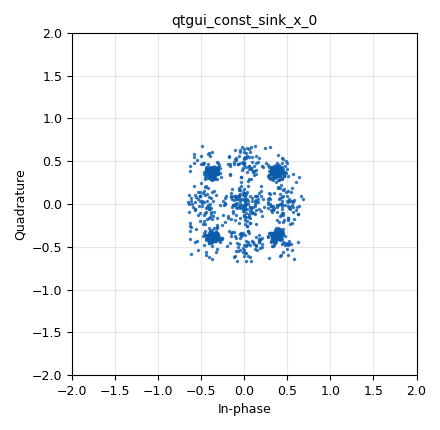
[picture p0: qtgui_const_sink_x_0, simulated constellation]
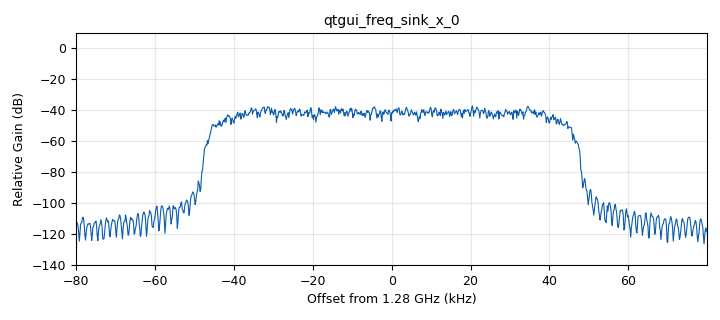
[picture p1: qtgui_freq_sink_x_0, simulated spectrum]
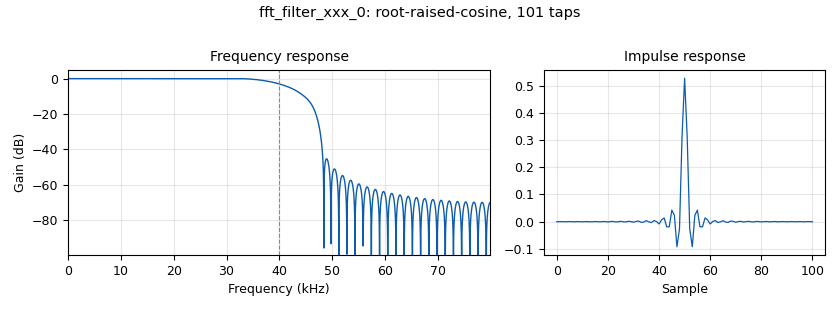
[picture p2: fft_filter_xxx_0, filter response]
<?xml version='1.0' encoding='utf-8'?>
<?grc format='1' created='3.7.12'?>
<flow_graph>
<block>
<key>options</key>
<param><key>id</key><value>dvbs2_tx</value></param>
<param><key>category</key><value>Custom</value></param>
<param><key>generate_options</key><value>qt_gui</value></param>
</block>
<block>
<key>variable</key>
<param><key>id</key><value>center_freq</value></param>
<param><key>value</key><value>1280e6</value></param>
</block>
<block>
<key>variable</key>
<param><key>id</key><value>rolloff</value></param>
<param><key>value</key><value>0.2</value></param>
</block>
<block>
<key>variable</key>
<param><key>id</key><value>samp_rate</value></param>
<param><key>value</key><value>symbol_rate * 2</value></param>
</block>
<block>
<key>variable</key>
<param><key>id</key><value>symbol_rate</value></param>
<param><key>value</key><value>80000</value></param>
</block>
<block>
<key>variable</key>
<param><key>id</key><value>taps</value></param>
<param><key>value</key><value>100</value></param>
</block>
<block>
<key>variable_qtgui_range</key>
<param><key>id</key><value>tx_gain</value></param>
<param><key>value</key><value>50</value></param>
<param><key>orient</key><value>Qt.Horizontal</value></param>
<param><key>start</key><value>0</value></param>
<param><key>step</key><value>1</value></param>
<param><key>stop</key><value>89</value></param>
</block>
<block>
<key>variable_qtgui_range</key>
<param><key>id</key><value>vga1_gain</value></param>
<param><key>value</key><value>-8</value></param>
<param><key>orient</key><value>Qt.Horizontal</value></param>
<param><key>start</key><value>-35</value></param>
<param><key>step</key><value>1</value></param>
<param><key>stop</key><value>-4</value></param>
<param><key>rangeType</key><value>int</value></param>
</block>
<block>
<key>variable_qtgui_range</key>
<param><key>id</key><value>vga2_gain</value></param>
<param><key>value</key><value>10</value></param>
<param><key>orient</key><value>Qt.Horizontal</value></param>
<param><key>start</key><value>0</value></param>
<param><key>step</key><value>1</value></param>
<param><key>stop</key><value>25</value></param>
<param><key>rangeType</key><value>int</value></param>
</block>
<block>
<key>analog_random_source_x</key>
<param><key>id</key><value>analog_random_source_x_0</value></param>
<param><key>max</key><value>2</value></param>
<param><key>min</key><value>0</value></param>
<param><key>num_samps</key><value>1000</value></param>
<param><key>type</key><value>byte</value></param>
<param><key>repeat</key><value>True</value></param>
</block>
<block>
<key>blocks_file_sink</key>
<param><key>id</key><value>blocks_file_sink_0</value></param>
<param><key>_enabled</key><value>False</value></param>
<param><key>file</key><value>adv.cfile</value></param>
<param><key>type</key><value>complex</value></param>
</block>
<block>
<key>blocks_file_source</key>
<param><key>id</key><value>blocks_file_source_0</value></param>
<param><key>_enabled</key><value>0</value></param>
<param><key>file</key><value>/run/shm/adv16apsk910.ts</value></param>
<param><key>type</key><value>byte</value></param>
<param><key>repeat</key><value>True</value></param>
</block>
<block>
<key>dtv_dvb_bbheader_bb</key>
<param><key>id</key><value>dtv_dvb_bbheader_bb_0</value></param>
<param><key>rate5</key><value>C1_4</value></param>
<param><key>framesize2</key><value>FECFRAME_SHORT</value></param>
<param><key>rolloff</key><value>RO_0_20</value></param>
<param><key>standard</key><value>STANDARD_DVBS2</value></param>
</block>
<block>
<key>dtv_dvb_bbscrambler_bb</key>
<param><key>id</key><value>dtv_dvb_bbscrambler_bb_0</value></param>
<param><key>rate5</key><value>C1_4</value></param>
<param><key>framesize2</key><value>FECFRAME_SHORT</value></param>
<param><key>standard</key><value>STANDARD_DVBS2</value></param>
</block>
<block>
<key>dtv_dvb_bch_bb</key>
<param><key>id</key><value>dtv_dvb_bch_bb_0</value></param>
<param><key>rate5</key><value>C1_4</value></param>
<param><key>framesize2</key><value>FECFRAME_SHORT</value></param>
<param><key>standard</key><value>STANDARD_DVBS2</value></param>
</block>
<block>
<key>dtv_dvb_ldpc_bb</key>
<param><key>id</key><value>dtv_dvb_ldpc_bb_0</value></param>
<param><key>rate5</key><value>C1_4</value></param>
<param><key>constellation</key><value>MOD_OTHER</value></param>
<param><key>framesize2</key><value>FECFRAME_SHORT</value></param>
<param><key>standard</key><value>STANDARD_DVBS2</value></param>
</block>
<block>
<key>dtv_dvbs2_interleaver_bb</key>
<param><key>id</key><value>dtv_dvbs2_interleaver_bb_0</value></param>
<param><key>rate1</key><value>C1_4</value></param>
<param><key>constellation</key><value>MOD_QPSK</value></param>
<param><key>framesize</key><value>FECFRAME_NORMAL</value></param>
</block>
<block>
<key>dtv_dvbs2_modulator_bc</key>
<param><key>id</key><value>dtv_dvbs2_modulator_bc_0</value></param>
<param><key>interpolation</key><value>INTERPOLATION_OFF</value></param>
<param><key>rate3</key><value>C1_4</value></param>
<param><key>constellation</key><value>MOD_QPSK</value></param>
<param><key>framesize</key><value>FECFRAME_SHORT</value></param>
</block>
<block>
<key>dtv_dvbs2_physical_cc</key>
<param><key>id</key><value>dtv_dvbs2_physical_cc_0</value></param>
<param><key>rate1</key><value>C1_4</value></param>
<param><key>constellation</key><value>MOD_QPSK</value></param>
<param><key>framesize</key><value>FECFRAME_NORMAL</value></param>
<param><key>goldcode</key><value>0</value></param>
<param><key>pilots</key><value>PILOTS_ON</value></param>
</block>
<block>
<key>fft_filter_xxx</key>
<param><key>id</key><value>fft_filter_xxx_0</value></param>
<param><key>decim</key><value>1</value></param>
<param><key>taps</key><value>firdes.root_raised_cosine(1.0, samp_rate, samp_rate/2, rolloff, taps)</value></param>
<param><key>type</key><value>ccc</value></param>
</block>
<block>
<key>osmosdr_sink</key>
<param><key>id</key><value>osmosdr_sink_0</value></param>
<param><key>bb_gain0</key><value>vga1_gain</value></param>
<param><key>bw0</key><value>6000000</value></param>
<param><key>freq0</key><value>center_freq</value></param>
<param><key>if_gain0</key><value>0</value></param>
<param><key>gain0</key><value>vga2_gain</value></param>
<param><key>args</key><value>bladerf=0,buffers=128,buflen=32768</value></param>
<param><key>_enabled</key><value>0</value></param>
<param><key>type</key><value>fc32</value></param>
<param><key>sample_rate</key><value>samp_rate</value></param>
<param><key>sync</key><value></value></param>
</block>
<block>
<key>qtgui_const_sink_x</key>
<param><key>id</key><value>qtgui_const_sink_x_0</value></param>
<param><key>grid</key><value>True</value></param>
<param><key>size</key><value>1024</value></param>
<param><key>type</key><value>complex</value></param>
</block>
<block>
<key>qtgui_freq_sink_x</key>
<param><key>id</key><value>qtgui_freq_sink_x_0</value></param>
<param><key>average</key><value>0.2</value></param>
<param><key>bw</key><value>samp_rate</value></param>
<param><key>fc</key><value>center_freq</value></param>
<param><key>fftsize</key><value>1024</value></param>
<param><key>grid</key><value>True</value></param>
<param><key>showports</key><value>True</value></param>
<param><key>type</key><value>complex</value></param>
<param><key>wintype</key><value>firdes.WIN_BLACKMAN_hARRIS</value></param>
</block>
<block>
<key>uhd_usrp_sink</key>
<param><key>id</key><value>uhd_usrp_sink_0_0</value></param>
<param><key>ant0</key><value></value></param>
<param><key>center_freq0</key><value>uhd.tune_request(center_freq, ((symbol_rate * (1 + rolloff)) / 2 ) + 1e5)</value></param>
<param><key>norm_gain0</key><value>False</value></param>
<param><key>gain0</key><value>tx_gain</value></param>
<param><key>clock_rate</key><value>0.0</value></param>
<param><key>dev_addr</key><value>"send_frame_size=65536,num_send_frames=256,master_clock_rate=" + str(samp_rate*4)</value></param>
<param><key>dev_args</key><value>""</value></param>
<param><key>type</key><value>fc32</value></param>
<param><key>samp_rate</key><value>samp_rate</value></param>
<param><key>hide_cmd_port</key><value>False</value></param>
<param><key>hide_lo_controls</key><value>True</value></param>
<param><key>sync</key><value></value></param>
<param><key>len_tag_name</key><value></value></param>
</block>
<connection><source_block_id>analog_random_source_x_0</source_block_id><sink_block_id>dtv_dvb_bbheader_bb_0</sink_block_id><source_key>0</source_key><sink_key>0</sink_key></connection>
<connection><source_block_id>blocks_file_source_0</source_block_id><sink_block_id>dtv_dvb_bbheader_bb_0</sink_block_id><source_key>0</source_key><sink_key>0</sink_key></connection>
<connection><source_block_id>dtv_dvb_bbheader_bb_0</source_block_id><sink_block_id>dtv_dvb_bbscrambler_bb_0</sink_block_id><source_key>0</source_key><sink_key>0</sink_key></connection>
<connection><source_block_id>dtv_dvb_bbscrambler_bb_0</source_block_id><sink_block_id>dtv_dvb_bch_bb_0</sink_block_id><source_key>0</source_key><sink_key>0</sink_key></connection>
<connection><source_block_id>dtv_dvb_bch_bb_0</source_block_id><sink_block_id>dtv_dvb_ldpc_bb_0</sink_block_id><source_key>0</source_key><sink_key>0</sink_key></connection>
<connection><source_block_id>dtv_dvb_ldpc_bb_0</source_block_id><sink_block_id>dtv_dvbs2_interleaver_bb_0</sink_block_id><source_key>0</source_key><sink_key>0</sink_key></connection>
<connection><source_block_id>dtv_dvbs2_interleaver_bb_0</source_block_id><sink_block_id>dtv_dvbs2_modulator_bc_0</sink_block_id><source_key>0</source_key><sink_key>0</sink_key></connection>
<connection><source_block_id>dtv_dvbs2_modulator_bc_0</source_block_id><sink_block_id>dtv_dvbs2_physical_cc_0</sink_block_id><source_key>0</source_key><sink_key>0</sink_key></connection>
<connection><source_block_id>dtv_dvbs2_physical_cc_0</source_block_id><sink_block_id>fft_filter_xxx_0</sink_block_id><source_key>0</source_key><sink_key>0</sink_key></connection>
<connection><source_block_id>fft_filter_xxx_0</source_block_id><sink_block_id>blocks_file_sink_0</sink_block_id><source_key>0</source_key><sink_key>0</sink_key></connection>
<connection><source_block_id>fft_filter_xxx_0</source_block_id><sink_block_id>qtgui_const_sink_x_0</sink_block_id><source_key>0</source_key><sink_key>0</sink_key></connection>
<connection><source_block_id>fft_filter_xxx_0</source_block_id><sink_block_id>qtgui_freq_sink_x_0</sink_block_id><source_key>0</source_key><sink_key>0</sink_key></connection>
<connection><source_block_id>fft_filter_xxx_0</source_block_id><sink_block_id>uhd_usrp_sink_0_0</sink_block_id><source_key>0</source_key><sink_key>0</sink_key></connection>
</flow_graph>
